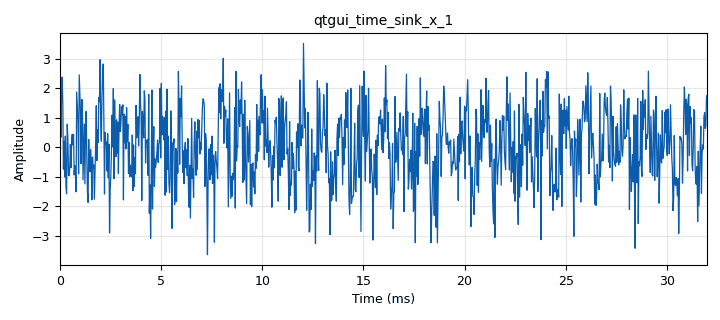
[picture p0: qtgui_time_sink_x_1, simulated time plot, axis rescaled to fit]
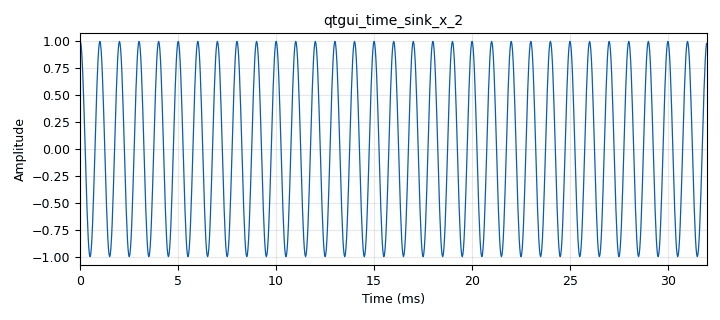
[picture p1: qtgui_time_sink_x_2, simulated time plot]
options:
  parameters:
    generate_options: qt_gui
    id: Practica_1
    output_language: python
    title: JDQG_1
  states: {}

blocks:
- name: AMP_RUIDO
  id: variable_qtgui_range
  parameters:
    start: '0.0005'
    step: '0.01'
    stop: '100'
    value: '1'
  states: {}
- name: samp_rate
  id: variable
  parameters:
    value: '32000'
  states: {}
- name: analog_noise_source_x_0
  id: analog_noise_source_x
  parameters:
    amp: AMP_RUIDO
    noise_type: analog.GR_GAUSSIAN
    seed: '0'
    type: float
  states: {}
- name: analog_sig_source_x_0
  id: analog_sig_source_x
  parameters:
    amp: '2'
    freq: '1000'
    offset: '0'
    phase: '0'
    samp_rate: samp_rate/2
    type: float
    waveform: analog.GR_TRI_WAVE
  states: {state: disabled}
- name: analog_sig_source_x_1
  id: analog_sig_source_x
  parameters:
    amp: '1'
    freq: '1000'
    offset: '0'
    phase: '0'
    samp_rate: samp_rate
    type: float
    waveform: analog.GR_COS_WAVE
  states: {}
- name: blocks_add_xx_0
  id: blocks_add_xx
  parameters:
    type: float
  states: {}
- name: blocks_throttle2_0
  id: blocks_throttle2
  parameters:
    samples_per_second: samp_rate
    type: float
  states: {}
- name: blocks_vector_source_x_0
  id: blocks_vector_source_x
  parameters:
    repeat: 'True'
    type: float
    vector: (1, 1, 1,  -1, -1, -1)
  states: {state: disabled}
- name: epy_block_0
  id: epy_block
  parameters:
    _source_code: |
      """
      Embedded Python Blocks:

      Each time this file is saved, GRC will instantiate the first class it finds
      to get ports and parameters of your block. The arguments to __init__  will
      be the parameters. All of them are required to have default values!
      """

      import numpy as np
      from gnuradio import gr

      class blk (gr. sync_block ):
          
          def __init__ ( self, additionFlag = 1.0 ) : 
              gr. sync_block . __init__ (
                  self ,
                  name = 'e_Acum', 
                  in_sig =[ np. float32 ],
                  out_sig =[ np. float32 ]
              )
              self.additionFlag = additionFlag
          
          def work (self , input_items , output_items ):
              x = input_items [0] 
              y0 = output_items [0] 
              
              y0 [:] = np. cumsum (x)
              
              return len (y0)
    additionFlag: '1.0'
  states: {state: disabled}
- name: epy_block_1
  id: epy_block
  parameters:
    _source_code: |-
      import numpy as np
      from gnuradio import gr

      class blk(gr.sync_block):
          def __init__(self):
              gr.sync_block.__init__(
                  self,
                  name='e_Diff',
                  in_sig=[np.float32],
                  out_sig=[np.float32]
              )
              # Guarda la última muestra de la ejecución anterior
              self.prev_sample = 0.0

          def work(self, input_items, output_items):
              x = input_items[0]
              y = output_items[0]
              N = len(x)
              
              if N == 0:
                  return 0
              
              # 1) Diferencia para la primera muestra del bloque actual
              #    usando la última muestra del bloque anterior
              y[0] = x[0] - self.prev_sample
              
              # 2) Diferencia entre muestras consecutivas dentro del bloque
              for i in range(1, N):
                  y[i] = x[i] - x[i-1]
              
              # 3) Actualiza el estado para el siguiente bloque
              self.prev_sample = x[-1]
              
              return N
  states: {state: disabled}
- name: epy_block_2
  id: epy_block
  parameters:
    _source_code: |-
      """
      Embedded Python Blocks:

      Each time this file is saved, GRC will instantiate the first class it finds
      to get ports and parameters of your block. The arguments to __init__  will
      be the parameters. All of them are required to have default values!
      """

      import numpy as np
      from gnuradio import gr

      class blk (gr. sync_block ):

          def __init__ ( self ) : # only default arguments here
              gr. sync_block . __init__ (
                  self ,
                  name = 'Promedios_de_tiempos' ,
                  in_sig =[ np. float32 ],
                  out_sig =[ np. float32 ,np. float32 ,np. float32 ,np. float32 ,np. float32 ]
              )
              self . acum_anterior = 0
              self . Ntotales = 0
              self . acum_anterior1 = 0
              self . acum_anterior2 = 0

          
          def work (self , input_items , output_items ):
              x = input_items [0] # Senial de entrada .
              y0 = output_items [0] # Promedio de la senial
              y1 = output_items [1] # Media de la senial
              y2 = output_items [2] # RMS de la senial
              y3 = output_items [3] # Potencia promedio de la senial
              y4 = output_items [4] # Desviacion estandar de la senial

          # Calculo del promedio
              N = len (x)
              self . Ntotales = self . Ntotales + N
              acumulado = self . acum_anterior + np. cumsum (x)
              self . acum_anterior = acumulado [N -1]
              y0 [:]= acumulado / self . Ntotales

      # Calculo de la media cuadratica
              x2=np. multiply (x,x)
              acumulado1 = self . acum_anterior1 + np. cumsum (x2)
              self . acum_anterior1 = acumulado [N -1]
              y1 [:] = acumulado1 / self . Ntotales

      # Calculo de la RMS
              y2 [:] = np. sqrt (y1)

      # Calculo de la potencia promedio
              y3 [:] = np. multiply (y2 ,y2)

      # Calculo de la desviacion estandar
              x3 = np. multiply (x-y0 ,x-y0)
              acumulado2 = self . acum_anterior2 + np. cumsum (x3)
              self . acum_anterior2 = acumulado2 [N -1]
              y4 [:] = np. sqrt ( acumulado2 / self . Ntotales )
              return len (x)
  states: {}
- name: epy_block_2_0
  id: epy_block
  parameters:
    _source_code: |-
      """
      Embedded Python Blocks:

      Each time this file is saved, GRC will instantiate the first class it finds
      to get ports and parameters of your block. The arguments to __init__  will
      be the parameters. All of them are required to have default values!
      """

      import numpy as np
      from gnuradio import gr

      class blk (gr. sync_block ):

          def __init__ ( self ) : # only default arguments here
              gr. sync_block . __init__ (
                  self ,
                  name = 'Promedios_de_tiempos' ,
                  in_sig =[ np. float32 ],
                  out_sig =[ np. float32 ,np. float32 ,np. float32 ,np. float32 ,np. float32 ]
              )
              self . acum_anterior = 0
              self . Ntotales = 0
              self . acum_anterior1 = 0
              self . acum_anterior2 = 0

          
          def work (self , input_items , output_items ):
              x = input_items [0] # Senial de entrada .
              y0 = output_items [0] # Promedio de la senial
              y1 = output_items [1] # Media de la senial
              y2 = output_items [2] # RMS de la senial
              y3 = output_items [3] # Potencia promedio de la senial
              y4 = output_items [4] # Desviacion estandar de la senial

          # Calculo del promedio
              N = len (x)
              self . Ntotales = self . Ntotales + N
              acumulado = self . acum_anterior + np. cumsum (x)
              self . acum_anterior = acumulado [N -1]
              y0 [:]= acumulado / self . Ntotales

      # Calculo de la media cuadratica
              x2=np. multiply (x,x)
              acumulado1 = self . acum_anterior1 + np. cumsum (x2)
              self . acum_anterior1 = acumulado [N -1]
              y1 [:] = acumulado1 / self . Ntotales

      # Calculo de la RMS
              y2 [:] = np. sqrt (y1)

      # Calculo de la potencia promedio
              y3 [:] = np. multiply (y2 ,y2)

      # Calculo de la desviacion estandar
              x3 = np. multiply (x-y0 ,x-y0)
              acumulado2 = self . acum_anterior2 + np. cumsum (x3)
              self . acum_anterior2 = acumulado2 [N -1]
              y4 [:] = np. sqrt ( acumulado2 / self . Ntotales )
              return len (x)
  states: {}
- name: qtgui_number_sink_0
  id: qtgui_number_sink
  parameters:
    graph_type: qtgui.NUM_GRAPH_HORIZ
    name: Media
    type: float
  states: {}
- name: qtgui_number_sink_0_0
  id: qtgui_number_sink
  parameters:
    graph_type: qtgui.NUM_GRAPH_HORIZ
    name: Media FUENTE
    type: float
  states: {}
- name: qtgui_number_sink_1
  id: qtgui_number_sink
  parameters:
    graph_type: qtgui.NUM_GRAPH_HORIZ
    name: Media Cuadratica
    type: float
  states: {}
- name: qtgui_number_sink_1_0
  id: qtgui_number_sink
  parameters:
    graph_type: qtgui.NUM_GRAPH_HORIZ
    name: Media Cuadratica FUENTE
    type: float
  states: {}
- name: qtgui_number_sink_2
  id: qtgui_number_sink
  parameters:
    graph_type: qtgui.NUM_GRAPH_HORIZ
    name: RMS
    type: float
  states: {}
- name: qtgui_number_sink_2_0
  id: qtgui_number_sink
  parameters:
    graph_type: qtgui.NUM_GRAPH_HORIZ
    name: RMS FUENTE
    type: float
  states: {}
- name: qtgui_number_sink_3
  id: qtgui_number_sink
  parameters:
    graph_type: qtgui.NUM_GRAPH_HORIZ
    name: Potencia Promedio
    type: float
  states: {}
- name: qtgui_number_sink_3_0
  id: qtgui_number_sink
  parameters:
    graph_type: qtgui.NUM_GRAPH_HORIZ
    name: Potencia Promedio FUENTE
    type: float
  states: {}
- name: qtgui_number_sink_4
  id: qtgui_number_sink
  parameters:
    graph_type: qtgui.NUM_GRAPH_HORIZ
    name: Desviacion Estandar
    type: float
  states: {}
- name: qtgui_number_sink_4_0
  id: qtgui_number_sink
  parameters:
    graph_type: qtgui.NUM_GRAPH_HORIZ
    name: Desviacion Estandar FUENTE
    type: float
  states: {}
- name: qtgui_time_sink_x_0
  id: qtgui_time_sink_x
  parameters:
    nconnections: '2'
    size: '1024'
    srate: samp_rate/2
    type: float
  states: {state: disabled}
- name: qtgui_time_sink_x_1
  id: qtgui_time_sink_x
  parameters:
    size: '1024'
    srate: samp_rate
    type: float
  states: {}
- name: qtgui_time_sink_x_2
  id: qtgui_time_sink_x
  parameters:
    size: '1024'
    srate: samp_rate
    type: float
  states: {}

connections:
- [analog_noise_source_x_0, '0', blocks_add_xx_0, '1']
- [analog_sig_source_x_0, '0', epy_block_1, '0']
- [analog_sig_source_x_0, '0', qtgui_time_sink_x_0, '1']
- [analog_sig_source_x_1, '0', blocks_add_xx_0, '0']
- [analog_sig_source_x_1, '0', epy_block_2_0, '0']
- [analog_sig_source_x_1, '0', qtgui_time_sink_x_2, '0']
- [blocks_add_xx_0, '0', blocks_throttle2_0, '0']
- [blocks_throttle2_0, '0', epy_block_2, '0']
- [blocks_throttle2_0, '0', qtgui_time_sink_x_1, '0']
- [blocks_vector_source_x_0, '0', epy_block_0, '0']
- [epy_block_1, '0', qtgui_time_sink_x_0, '0']
- [epy_block_2, '0', qtgui_number_sink_0, '0']
- [epy_block_2, '1', qtgui_number_sink_1, '0']
- [epy_block_2, '2', qtgui_number_sink_2, '0']
- [epy_block_2, '3', qtgui_number_sink_3, '0']
- [epy_block_2, '4', qtgui_number_sink_4, '0']
- [epy_block_2_0, '0', qtgui_number_sink_0_0, '0']
- [epy_block_2_0, '1', qtgui_number_sink_1_0, '0']
- [epy_block_2_0, '2', qtgui_number_sink_2_0, '0']
- [epy_block_2_0, '3', qtgui_number_sink_3_0, '0']
- [epy_block_2_0, '4', qtgui_number_sink_4_0, '0']

metadata:
  file_format: 1
  grc_version: v3.10.11.0-89-ga17f69e7
